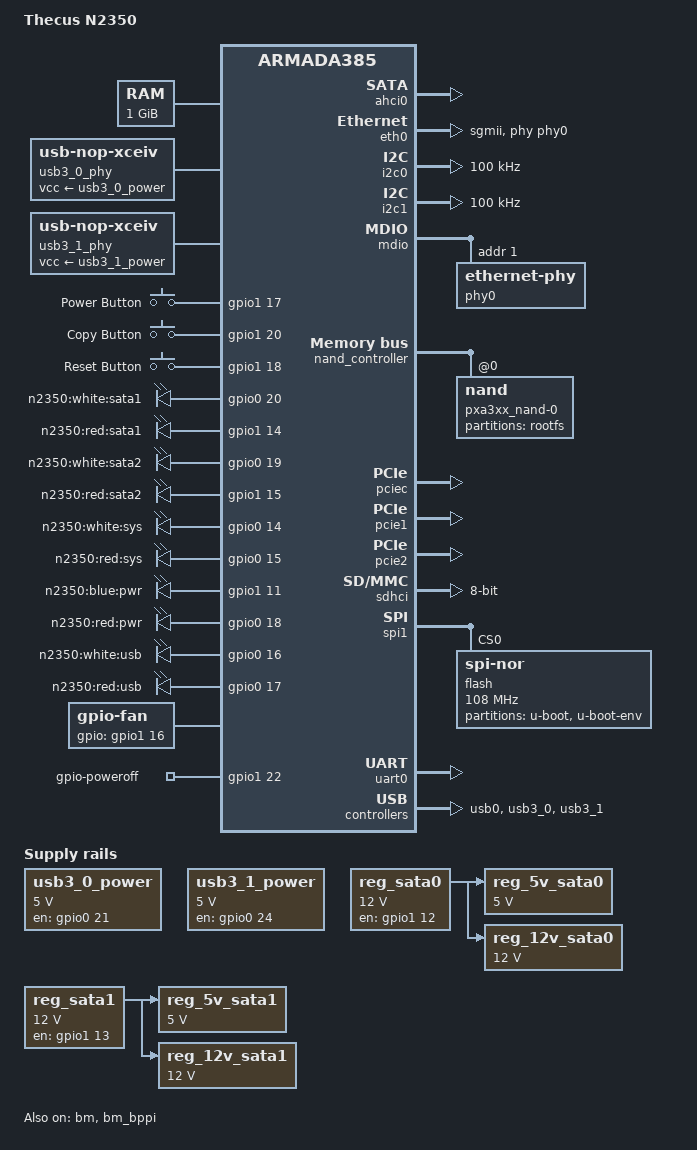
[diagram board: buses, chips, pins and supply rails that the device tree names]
// SPDX-License-Identifier: (GPL-2.0 OR MIT)
/*
 * Device Tree file for Thecus N2350 board
 *
 * Copyright (C) 2018-2023 Tony Dinh <mibodhi@gmail.com>
 * Copyright (C) 2018 Manuel Jung <manuel.jung@hotmail.com>
 */

/dts-v1/;
#include <dt-bindings/input/input.h>
#include <dt-bindings/gpio/gpio.h>
#include "armada-385.dtsi"

/ {
	model = "Thecus N2350";
	compatible = "thecus,n2350", "marvell,armada385";

	aliases {
		ethernet0 = &eth0;
	};

	chosen {
		stdout-path = "serial0:115200n8";
	};

	memory@0 {
		device_type = "memory";
		reg = <0x00000000 0x40000000>; /* 1GB */
	};

	soc {
		ranges = <MBUS_ID(0xf0, 0x01) 0 0xf1000000 0x100000
			  MBUS_ID(0x01, 0x1d) 0 0xfff00000 0x100000
			  MBUS_ID(0x09, 0x19) 0 0xf1100000 0x10000
			  MBUS_ID(0x09, 0x15) 0 0xf1110000 0x10000
			  MBUS_ID(0x0c, 0x04) 0 0xf1200000 0x100000>;

	};

	usb3_0_phy: usb-phy {
		compatible = "usb-nop-xceiv";
		vcc-supply = <&usb3_0_power>;
		 #phy-cells = <0>;
	};

	usb3_1_phy: usb-phy {
		compatible = "usb-nop-xceiv";
		vcc-supply = <&usb3_1_power>;
		 #phy-cells = <0>;
	};

	keys {
		compatible = "gpio-keys";
		pinctrl-0 = <&pmx_power_button &pmx_copy_button &pmx_reset_button>;
		pinctrl-names = "default";

		button-1 {
			label = "Power Button";
			linux,code = <KEY_POWER>;
			gpios = <&gpio1 17 GPIO_ACTIVE_HIGH>;
		};

		button-2 {
			label = "Copy Button";
			linux,code = <KEY_COPY>;
			gpios = <&gpio1 20 GPIO_ACTIVE_HIGH>;
		};

		button-3 {
			label = "Reset Button";
			linux,code = <KEY_RESTART>;
			gpios = <&gpio1 18 GPIO_ACTIVE_HIGH>;
		};
	};

	leds {
		compatible = "gpio-leds";
		pinctrl-0 = <&pmx_sata1_white_led
				&pmx_sata1_red_led
				&pmx_sata2_white_led
				&pmx_sata2_red_led
				&pmx_sys_white_led
				&pmx_sys_red_led
				&pmx_pwr_blue_led
				&pmx_pwr_red_led
				&pmx_usb_white_led
				&pmx_usb_red_led>;

		pinctrl-names = "default";

		led-1 {
			label = "n2350:white:sata1";
			gpios = <&gpio0 20 GPIO_ACTIVE_HIGH>;
		};

		led-2 {
			label = "n2350:red:sata1";
			gpios = <&gpio1 14 GPIO_ACTIVE_HIGH>;
		};

		led-3 {
			label = "n2350:white:sata2";
			gpios = <&gpio0 19 GPIO_ACTIVE_HIGH>;
		};

		led-4 {
			label = "n2350:red:sata2";
			gpios = <&gpio1 15 GPIO_ACTIVE_HIGH>;
		};

		led-5 {
			label = "n2350:white:sys";
			gpios = <&gpio0 14 GPIO_ACTIVE_HIGH>;
			linux,default-trigger = "default-on";
		};

		led-6 {
			label = "n2350:red:sys";
			gpios = <&gpio0 15 GPIO_ACTIVE_HIGH>;
		};

		led-7 {
			label = "n2350:blue:pwr";
			gpios = <&gpio1 11 GPIO_ACTIVE_HIGH>;
		};

		led-8 {
			label = "n2350:red:pwr";
			gpios = <&gpio0 18 GPIO_ACTIVE_HIGH>;
		};

		led-9 {
			label = "n2350:white:usb";
			gpios = <&gpio0 16 GPIO_ACTIVE_HIGH>;
		};

		led-10 {
			label = "n2350:red:usb";
			gpios = <&gpio0 17 GPIO_ACTIVE_HIGH>;
		};
	};

	fan {
		compatible = "gpio-fan";
		gpios = <&gpio1 16 GPIO_ACTIVE_HIGH>;
		gpio-fan,speed-map = <	  0  0
					600  1
					3000 2 >;
		pinctrl-0 = <&pmx_fan>;
		pinctrl-names = "default";
	};

	usb3_0_power: v5-vbus0 {
		compatible = "regulator-fixed";
		regulator-name = "USB3_0_Power";
		regulator-min-microvolt = <5000000>;
		regulator-max-microvolt = <5000000>;
		enable-active-high;
		regulator-always-on;
		regulator-boot-on;
		gpio = <&gpio0 21 GPIO_ACTIVE_HIGH>;
	};

	usb3_1_power: v5-vbus1 {
		compatible = "regulator-fixed";
		regulator-name = "USB3_1_Power";
		regulator-min-microvolt = <5000000>;
		regulator-max-microvolt = <5000000>;
		enable-active-high;
		regulator-always-on;
		regulator-boot-on;
		gpio = <&gpio0 24 GPIO_ACTIVE_HIGH>;
	};

	reg_sata0: pwr-sata0 {
		compatible = "regulator-fixed";
		regulator-name = "pwr_en_sata0";
		regulator-min-microvolt = <12000000>;
		regulator-max-microvolt = <12000000>;
		enable-active-high;
		regulator-always-on;
		regulator-boot-on;
		gpio = <&gpio1 12 GPIO_ACTIVE_HIGH>;
	};

	reg_5v_sata0: v5-sata0 {
		compatible = "regulator-fixed";
		regulator-name = "v5.0-sata0";
		regulator-min-microvolt = <5000000>;
		regulator-max-microvolt = <5000000>;
		vin-supply = <&reg_sata0>;
	};

	reg_12v_sata0: v12-sata0 {
		compatible = "regulator-fixed";
		regulator-name = "v12.0-sata0";
		regulator-min-microvolt = <12000000>;
		regulator-max-microvolt = <12000000>;
		vin-supply = <&reg_sata0>;
	};

	reg_sata1: pwr-sata0 {
		regulator-name = "pwr_en_sata1";
		compatible = "regulator-fixed";
		regulator-min-microvolt = <12000000>;
		regulator-max-microvolt = <12000000>;
		enable-active-high;
		regulator-always-on;
		regulator-boot-on;
		gpio = <&gpio1 13 GPIO_ACTIVE_HIGH>;
	};

	reg_5v_sata1: v5-sata1 {
		compatible = "regulator-fixed";
		regulator-name = "v5.0-sata1";
		regulator-min-microvolt = <5000000>;
		regulator-max-microvolt = <5000000>;
		vin-supply = <&reg_sata1>;
	};

	reg_12v_sata1: v12-sata1 {
		compatible = "regulator-fixed";
		regulator-name = "v12.0-sata1";
		regulator-min-microvolt = <12000000>;
		regulator-max-microvolt = <12000000>;
		vin-supply = <&reg_sata1>;
	};

	gpio-poweroff {
		compatible = "gpio-poweroff";
		pinctrl-0 = <&pmx_pwr_off>;
		pinctrl-names = "default";
		gpios = <&gpio1 22 GPIO_ACTIVE_HIGH>;
	};

};

&ahci0 {
	status = "okay";
};

&bm {
	status = "okay";
};

&bm_bppi {
	status = "okay";
};

&eth0 {
	status = "okay";
	phy = <&phy0>;
	phy-mode = "sgmii";
	buffer-manager = <&bm>;
	bm,pool-long = <0>;
	bm,pool-short = <1>;
};

&i2c0 {
	status = "okay";
	clock-frequency = <100000>;
};

&i2c1 {
	status = "okay";
	clock-frequency = <100000>;
};

&mdio {
	phy0: ethernet-phy@1 {
		reg = <1>;
	};
};

&nand_controller {
	status = "okay";

	nand@0 {
		status = "okay";
		reg = <0>;
		label = "pxa3xx_nand-0";
		nand-rb = <0>;
		marvell,nand-keep-config;
		nand-on-flash-bbt;
		nand-ecc-strength = <4>;
		nand-ecc-step-size = <512>;

		partitions {
			compatible = "fixed-partitions";
			#address-cells = <1>;
			#size-cells = <1>;

			partition@0 {
				label = "rootfs";
				reg = <0x00000000 0x20000000>;
			};

		};
	};
};

&pciec {
	status = "okay";
};

&pcie1 {
	status = "okay";
};

&pcie2 {
	status = "okay";
};

&pinctrl {
	pinctrl-names = "default";

	pmx_power_button: pmx-power-button {
		marvell,pins = "mpp49";
		marvell,function = "gpio";
	};

	pmx_copy_button: pmx-copy-button {
		marvell,pins = "mpp52";
		marvell,function = "gpio";
	};

	pmx_reset_button: pmx-reset-button {
		marvell,pins = "mpp50";
		marvell,function = "gpio";
	};

	pmx_sata1_white_led: pmx-sata1-white-led {
		marvell,pins = "mpp20";
		marvell,function = "gpio";
	};

	pmx_sata1_red_led: pmx-sata1-red-led {
		marvell,pins = "mpp46";
		marvell,function = "gpio";
	};

	pmx_sata2_white_led: pmx-sata2-white-led {
		marvell,pins = "mpp19";
		marvell,function = "gpio";
	};

	pmx_sata2_red_led: pmx-sata2-red-led {
		marvell,pins = "mpp47";
		marvell,function = "gpio";
	};

	pmx_sys_white_led: pmx-sys-white-led {
		marvell,pins = "mpp14";
		marvell,function = "gpio";
	};

	pmx_sys_red_led: pmx-sys-red-led {
		marvell,pins = "mpp15";
		marvell,function = "gpio";
	};

	pmx_buzzer: pmx-buzzer {
		marvell,pins = "mpp51";
		marvell,function = "gpio";
	};

	pmx_pwr_off: pmx-pwr-off {
		marvell,pins = "mpp54";
		marvell,function = "gpio";
	};

	pmx_pwr_blue_led: pmx-pwr-blue-led {
		marvell,pins = "mpp43";
		marvell,function = "gpio";
	};

	pmx_pwr_red_led: pmx-pwr-red-led {
		marvell,pins = "mpp18";
		marvell,function = "gpio";
	};

	pmx_usb_white_led: pmx-usb-white-led {
		marvell,pins = "mpp16";
		marvell,function = "gpio";
	};

	pmx_usb_red_led: pmx-usb-red-led {
		marvell,pins = "mpp17";
		marvell,function = "gpio";
	};

	pmx_fan: pmx-fan {
		marvell,pins = "mpp48";
		marvell,function = "gpio";
	};
};

&sdhci {
	broken-cd;
	wp-inverted;
	bus-width = <8>;
	status = "okay";
	no-1-8-v;
};

&spi1 {
	pinctrl-names = "default";
	pinctrl-0 = <&spi1_pins>;
	status = "okay";

	/* spi: 4M Flash Macronix MX25L3205D */
	flash@0 {
		#address-cells = <1>;
		#size-cells = <0>;
		compatible = "jedec,spi-nor";
		reg = <0>;

		spi-max-frequency = <108000000>;
		spi-cpha;

		partition@0 {
			label = "u-boot";
			reg = <0x00000000 0x00100000>;
		};

		partition@100000 {
			label = "u-boot-env";
			reg = <0x00100000 0x00010000>;
		};
	};
};

&uart0 {
	status = "okay";
};

&usb0 {
	status = "okay";
};

&usb3_0 {
	status = "okay";
};

&usb3_1 {
	status = "okay";
};
